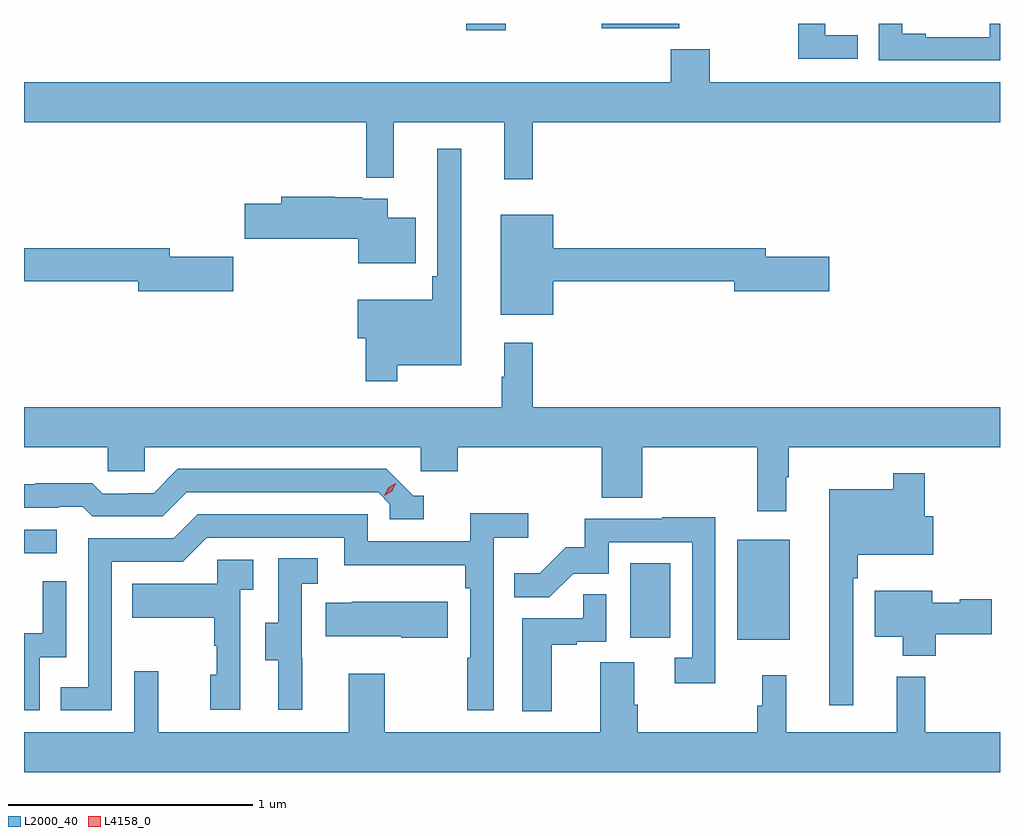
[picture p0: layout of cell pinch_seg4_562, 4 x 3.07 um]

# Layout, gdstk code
import gdstk
lib = gdstk.Library(unit=1e-6, precision=1e-09)
def R(c, l, rs):  # rectangles x0, y0, x1, y1
    for r in rs: c.add(gdstk.rectangle(r[:2], r[2:], *l))
def P(c, l, *ps):  # polygons
    for p in ps: c.add(gdstk.Polygon(p, *l))
L2000_40 = (2000, 40)
L4158_0 = (4158, 0)

pinch_seg4_562 = lib.new_cell('pinch_seg4_562')
R(pinch_seg4_562, L2000_40, [(1103.528,777.383,1103.743,777.793), (1103.09,777.39,1103.254,777.697), (1100.605,777.738,1100.74,777.834), (1102.418,779.88,1102.579,779.907), (1102.973,779.888,1103.291,779.907)])
P(pinch_seg4_562, L2000_40, [(1104.023,779.86),(1103.889,779.86),(1103.889,779.907),(1103.778,779.907),(1103.778,779.763),(1104.023,779.763)],
  [(1104.605,779.907),(1104.564,779.907),(1104.564,779.853),(1104.301,779.853),(1104.301,779.866),(1104.205,779.866),(1104.205,779.907),(1104.108,779.907),(1104.108,779.757),(1104.605,779.757)],
  [(1102.691,779.504),(1104.605,779.504),(1104.605,779.668),(1103.415,779.668),(1103.415,779.803),(1103.255,779.803),(1103.255,779.668),(1100.605,779.668),(1100.605,779.504),(1102.007,779.504),(1102.007,779.276),(1102.121,779.276),(1102.121,779.504),(1102.574,779.504),(1102.574,779.271),(1102.691,779.271)],
  [(1102.135,778.508),(1102.396,778.508),(1102.396,779.395),(1102.299,779.395),(1102.299,778.873),(1102.279,778.873),(1102.279,778.777),(1101.972,778.777),(1101.972,778.619),(1102.006,778.619),(1102.006,778.443),(1102.135,778.443)],
  [(1102.21,779.113),(1102.096,779.113),(1102.096,779.191),(1101.992,779.191),(1101.992,779.196),(1101.878,779.196),(1101.878,779.199),(1101.659,779.199),(1101.659,779.169),(1101.51,779.169),(1101.51,779.027),(1101.974,779.027),(1101.974,778.925),(1102.21,778.925)],
  [(1102.774,778.852),(1103.516,778.852),(1103.516,778.81),(1103.905,778.81),(1103.905,778.952),(1103.644,778.952),(1103.644,778.988),(1102.774,778.988),(1102.774,779.125),(1102.559,779.125),(1102.559,778.715),(1102.774,778.715)],
  [(1101.463,778.952),(1101.202,778.952),(1101.202,778.988),(1100.605,778.988),(1100.605,778.852),(1101.074,778.852),(1101.074,778.81),(1101.463,778.81)],
  [(1103.728,778.049),(1103.74,778.049),(1103.74,778.172),(1104.605,778.172),(1104.605,778.336),(1102.691,778.336),(1102.691,778.6),(1102.574,778.6),(1102.574,778.46),(1102.563,778.46),(1102.563,778.336),(1100.605,778.336),(1100.605,778.172),(1100.949,778.172),(1100.949,778.074),(1101.099,778.074),(1101.099,778.172),(1102.23,778.172),(1102.23,778.074),(1102.382,778.074),(1102.382,778.172),(1102.973,778.172),(1102.973,777.964),(1103.138,777.964),(1103.138,778.172),(1103.611,778.172),(1103.611,777.909),(1103.728,777.909)],
  [(1102.243,777.972),(1102.2,777.972),(1102.089,778.083),(1101.236,778.083),(1101.137,777.984),(1101.03,777.984),(1101.03,777.981),(1100.927,777.981),(1100.885,778.024),(1100.652,778.024),(1100.652,778.021),(1100.605,778.021),(1100.605,777.924),(1100.747,777.924),(1100.747,777.927),(1100.846,777.927),(1100.885,777.888),(1101.174,777.888),(1101.273,777.987),(1102.056,777.987),(1102.104,777.939),(1102.104,777.876),(1102.243,777.876)],
  [(1104.003,777.635),(1104.023,777.635),(1104.023,777.731),(1104.331,777.731),(1104.331,777.889),(1104.296,777.889),(1104.296,778.066),(1104.168,778.066),(1104.168,778),(1103.906,778),(1103.906,777.114),(1104.003,777.114)],
  [(1100.964,777.702),(1101.255,777.702),(1101.354,777.801),(1101.918,777.801),(1101.918,777.689),(1102.414,777.689),(1102.414,777.593),(1102.434,777.593),(1102.434,777.308),(1102.422,777.308),(1102.422,777.093),(1102.53,777.093),(1102.53,777.8),(1102.672,777.8),(1102.672,777.902),(1102.433,777.902),(1102.433,777.786),(1102.014,777.786),(1102.014,777.897),(1101.317,777.897),(1101.218,777.798),(1100.868,777.798),(1100.868,777.189),(1100.755,777.189),(1100.755,777.093),(1100.964,777.093)],
  [(1103.439,777.884),(1103.221,777.884),(1103.221,777.879),(1102.903,777.879),(1102.903,777.762),(1102.826,777.762),(1102.719,777.655),(1102.615,777.655),(1102.615,777.556),(1102.758,777.556),(1102.856,777.654),(1103.001,777.654),(1103.001,777.783),(1103.343,777.783),(1103.343,777.309),(1103.271,777.309),(1103.271,777.204),(1103.439,777.204)],
  [(1101.746,777.309),(1101.744,777.309),(1101.744,777.613),(1101.808,777.613),(1101.808,777.716),(1101.648,777.716),(1101.648,777.453),(1101.593,777.453),(1101.593,777.298),(1101.647,777.298),(1101.647,777.096),(1101.746,777.096)],
  [(1101.492,777.587),(1101.544,777.587),(1101.544,777.711),(1101.396,777.711),(1101.396,777.613),(1101.049,777.613),(1101.049,777.473),(1101.384,777.473),(1101.384,777.359),(1101.394,777.359),(1101.394,777.24),(1101.368,777.24),(1101.368,777.096),(1101.492,777.096)],
  [(1100.67,777.312),(1100.778,777.312),(1100.778,777.622),(1100.682,777.622),(1100.682,777.41),(1100.605,777.41),(1100.605,777.093),(1100.67,777.093)],
  [(1104.341,777.406),(1104.571,777.406),(1104.571,777.548),(1104.441,777.548),(1104.441,777.535),(1104.328,777.535),(1104.328,777.583),(1104.092,777.583),(1104.092,777.395),(1104.206,777.395),(1104.206,777.317),(1104.341,777.317)],
  [(1102.768,777.363),(1102.871,777.363),(1102.871,777.375),(1102.992,777.375),(1102.992,777.569),(1102.897,777.569),(1102.897,777.471),(1102.646,777.471),(1102.646,777.089),(1102.768,777.089)],
  [(1102.342,777.538),(1101.949,777.538),(1101.949,777.535),(1101.841,777.535),(1101.841,777.398),(1102.151,777.398),(1102.151,777.391),(1102.342,777.391)],
  [(1104.605,777.004),(1104.299,777.004),(1104.299,777.232),(1104.182,777.232),(1104.182,777.004),(1103.729,777.004),(1103.729,777.238),(1103.63,777.238),(1103.63,777.113),(1103.611,777.113),(1103.611,777.004),(1103.12,777.004),(1103.12,777.116),(1103.107,777.116),(1103.107,777.29),(1102.967,777.29),(1102.967,777.004),(1102.083,777.004),(1102.083,777.244),(1101.935,777.244),(1101.935,777.004),(1101.155,777.004),(1101.155,777.253),(1101.057,777.253),(1101.057,777.004),(1100.605,777.004),(1100.605,776.84),(1104.605,776.84)])
P(pinch_seg4_562, L4158_0, [(1102.081,777.972),(1102.081,777.972),(1102.098,778.005),(1102.129,778.024),(1102.129,778.024),(1102.129,778.023),(1102.112,777.991),(1102.081,777.972)])

lib.write_gds('pinch_seg4_562.gds')
